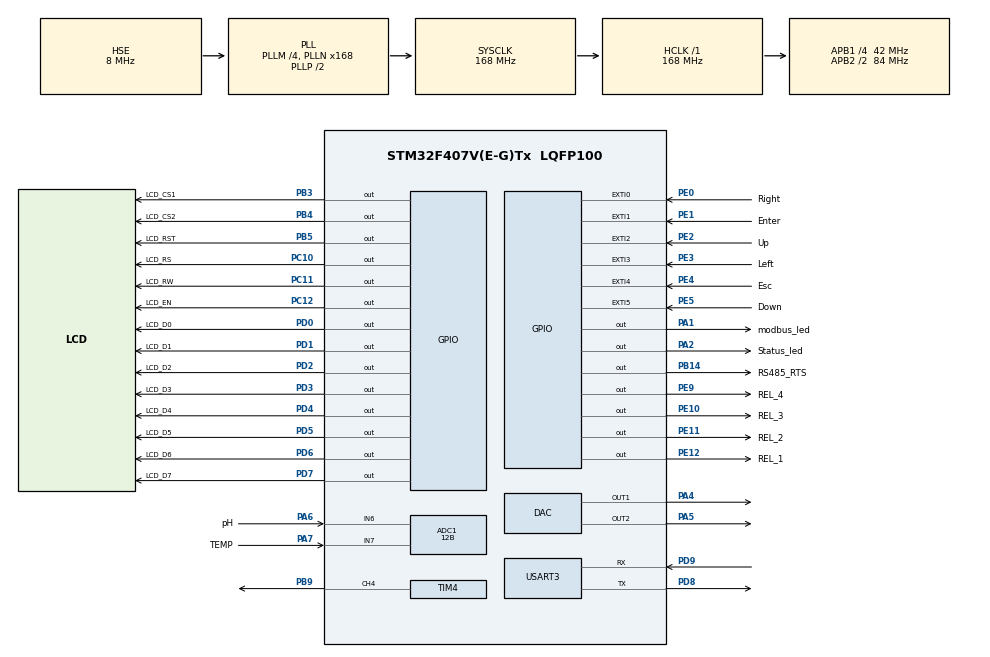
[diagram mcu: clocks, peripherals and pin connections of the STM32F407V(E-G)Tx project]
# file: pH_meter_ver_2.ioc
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ADC1.Channel-0\#ChannelRegularConversion=ADC_CHANNEL_6
ADC1.Channel-2\#ChannelRegularConversion=ADC_CHANNEL_7
ADC1.ClockPrescaler=ADC_CLOCK_SYNC_PCLK_DIV4
ADC1.ContinuousConvMode=ENABLE
ADC1.DMAContinuousRequests=DISABLE
ADC1.DataAlign=ADC_DATAALIGN_RIGHT
ADC1.DiscontinuousConvMode=DISABLE
ADC1.EOCSelection=ADC_EOC_SINGLE_CONV
ADC1.EnableAnalogWatchDog=false
ADC1.ExternalTrigConv=ADC_EXTERNALTRIGCONV_T2_TRGO
ADC1.ExternalTrigConvEdge=ADC_EXTERNALTRIGCONVEDGE_RISING
ADC1.InjNumberOfConversion=0
ADC1.NbrOfConversion=2
ADC1.NbrOfConversionFlag=1
ADC1.Rank-0\#ChannelRegularConversion=1
ADC1.Rank-2\#ChannelRegularConversion=2
ADC1.Resolution=ADC_RESOLUTION_12B
ADC1.SamplingTime-0\#ChannelRegularConversion=ADC_SAMPLETIME_144CYCLES
ADC1.SamplingTime-2\#ChannelRegularConversion=ADC_SAMPLETIME_144CYCLES
ADC1.ScanConvMode=ENABLE
ADC1.master=1
Dma.ADC1.0.Direction=DMA_PERIPH_TO_MEMORY
Dma.ADC1.0.FIFOMode=DMA_FIFOMODE_DISABLE
Dma.ADC1.0.Instance=DMA2_Stream0
Dma.ADC1.0.MemDataAlignment=DMA_MDATAALIGN_WORD
Dma.ADC1.0.MemInc=DMA_MINC_ENABLE
Dma.ADC1.0.Mode=DMA_CIRCULAR
Dma.ADC1.0.PeriphDataAlignment=DMA_PDATAALIGN_WORD
Dma.ADC1.0.PeriphInc=DMA_PINC_DISABLE
Dma.ADC1.0.Priority=DMA_PRIORITY_LOW
Dma.Request0=ADC1
FREERTOS.Tasks01=defaultTask,0,128,StartDefaultTask,Default,NULL
FREERTOS.configUSE_COUNTING_SEMAPHORES=1
Mcu.Family=STM32F4
Mcu.Name=STM32F407V(E-G)Tx
Mcu.Package=LQFP100
NVIC.DMA2_Stream0_IRQn=true\:5\:0\:false\:false\:true\:true\:false\:true
NVIC.EXTI0_IRQn=true\:5\:0\:false\:false\:true\:true\:true\:true
NVIC.EXTI1_IRQn=true\:5\:0\:false\:false\:true\:true\:true\:true
NVIC.EXTI2_IRQn=true\:5\:0\:false\:false\:true\:true\:true\:true
NVIC.EXTI3_IRQn=true\:5\:0\:false\:false\:true\:true\:true\:true
NVIC.EXTI4_IRQn=true\:5\:0\:false\:false\:true\:true\:true\:true
NVIC.EXTI9_5_IRQn=true\:5\:0\:false\:false\:true\:true\:true\:true
NVIC.PriorityGroup=NVIC_PRIORITYGROUP_4
NVIC.TIM1_UP_TIM10_IRQn=true\:0\:0\:false\:false\:true\:false\:false\:true
NVIC.TIM2_IRQn=true\:5\:0\:false\:false\:true\:true\:true\:true
NVIC.TIM5_IRQn=true\:5\:0\:false\:false\:true\:true\:true\:true
NVIC.TimeBase=TIM1_UP_TIM10_IRQn
NVIC.TimeBaseIP=TIM1
NVIC.USART3_IRQn=true\:5\:0\:false\:false\:true\:true\:true\:true
PA1.GPIO_Label=modbus_led
PA1.Signal=GPIO_Output
PA2.GPIO_Label=Status_led
PA2.Signal=GPIO_Output
PA4.Signal=COMP_DAC1_group
PA5.Signal=COMP_DAC2_group
PA6.GPIO_Label=pH
PA6.Signal=ADCx_IN6
PA7.GPIO_Label=TEMP
PA7.Signal=ADCx_IN7
PB14.GPIO_Label=RS485_RTS
PB14.Signal=GPIO_Output
PB3.GPIO_Label=LCD_CS1
PB3.Signal=GPIO_Output
PB4.GPIO_Label=LCD_CS2
PB4.Signal=GPIO_Output
PB5.GPIO_Label=LCD_RST
PB5.Signal=GPIO_Output
PB9.Signal=S_TIM4_CH4
PC10.GPIO_Label=LCD_RS
PC10.Signal=GPIO_Output
PC11.GPIO_Label=LCD_RW
PC11.Signal=GPIO_Output
PC12.GPIO_Label=LCD_EN
PC12.Signal=GPIO_Output
PC14-OSC32_IN.Mode=LSE-External-Oscillator
PC14-OSC32_IN.Signal=RCC_OSC32_IN
PC15-OSC32_OUT.Mode=LSE-External-Oscillator
PC15-OSC32_OUT.Signal=RCC_OSC32_OUT
PD0.GPIO_Label=LCD_D0
PD0.Signal=GPIO_Output
PD1.GPIO_Label=LCD_D1
PD1.Signal=GPIO_Output
PD2.GPIO_Label=LCD_D2
PD2.Signal=GPIO_Output
PD3.GPIO_Label=LCD_D3
PD3.Signal=GPIO_Output
PD4.GPIO_Label=LCD_D4
PD4.Signal=GPIO_Output
PD5.GPIO_Label=LCD_D5
PD5.Signal=GPIO_Output
PD6.GPIO_Label=LCD_D6
PD6.Signal=GPIO_Output
PD7.GPIO_Label=LCD_D7
PD7.Signal=GPIO_Output
PD8.Mode=Asynchronous
PD8.Signal=USART3_TX
PD9.Mode=Asynchronous
PD9.Signal=USART3_RX
PE0.GPIO_Label=Right
PE0.GPIO_ModeDefaultEXTI=GPIO_MODE_IT_FALLING
PE0.GPIO_PuPd=GPIO_PULLUP
PE0.Signal=GPXTI0
PE1.GPIO_Label=Enter
PE1.GPIO_ModeDefaultEXTI=GPIO_MODE_IT_FALLING
PE1.GPIO_PuPd=GPIO_PULLUP
PE1.Signal=GPXTI1
PE10.GPIO_Label=REL_3
PE10.Signal=GPIO_Output
PE11.GPIO_Label=REL_2
PE11.Signal=GPIO_Output
PE12.GPIO_Label=REL_1
PE12.Signal=GPIO_Output
PE2.GPIO_Label=Up
PE2.GPIO_ModeDefaultEXTI=GPIO_MODE_IT_FALLING
PE2.GPIO_PuPd=GPIO_PULLUP
PE2.Signal=GPXTI2
PE3.GPIO_Label=Left
PE3.GPIO_ModeDefaultEXTI=GPIO_MODE_IT_FALLING
PE3.GPIO_PuPd=GPIO_PULLUP
PE3.Signal=GPXTI3
PE4.GPIO_Label=Esc
PE4.GPIO_ModeDefaultEXTI=GPIO_MODE_IT_FALLING
PE4.GPIO_PuPd=GPIO_PULLUP
PE4.Signal=GPXTI4
PE5.GPIO_Label=Down
PE5.GPIO_ModeDefaultEXTI=GPIO_MODE_IT_FALLING
PE5.GPIO_PuPd=GPIO_PULLUP
PE5.Signal=GPXTI5
PE9.GPIO_Label=REL_4
PE9.Signal=GPIO_Output
PH0-OSC_IN.Mode=HSE-External-Oscillator
PH0-OSC_IN.Signal=RCC_OSC_IN
PH1-OSC_OUT.Mode=HSE-External-Oscillator
PH1-OSC_OUT.Signal=RCC_OSC_OUT
ProjectManager.HeapSize=0x200
ProjectManager.StackSize=0x400
ProjectManager.TargetToolchain=MDK-ARM V5
RCC.48MHZClocksFreq_Value=112000000
RCC.AHBFreq_Value=168000000
RCC.APB1CLKDivider=RCC_HCLK_DIV4
RCC.APB1Freq_Value=42000000
RCC.APB1TimFreq_Value=84000000
RCC.APB2CLKDivider=RCC_HCLK_DIV2
RCC.APB2Freq_Value=84000000
RCC.APB2TimFreq_Value=168000000
RCC.CortexFreq_Value=168000000
RCC.HCLKFreq_Value=168000000
RCC.HSE_VALUE=8000000
RCC.HSI_VALUE=16000000
RCC.PLLM=4
RCC.PLLN=168
RCC.PLLQ=3
RCC.PLLSourceVirtual=RCC_PLLSOURCE_HSE
RCC.RCC_RTC_Clock_Source=RCC_RTCCLKSOURCE_LSE
RCC.RCC_RTC_Clock_SourceVirtual=RCC_RTCCLKSOURCE_LSE
RCC.SYSCLKFreq_VALUE=168000000
RCC.SYSCLKSource=RCC_SYSCLKSOURCE_PLLCLK
RCC.VCOOutputFreq_Value=336000000
SH.ADCx_IN6.0=ADC1_IN6,IN6
SH.ADCx_IN7.0=ADC1_IN7,IN7
SH.COMP_DAC1_group.0=DAC_OUT1,DAC_OUT1
SH.COMP_DAC2_group.0=DAC_OUT2,DAC_OUT2
SH.S_TIM4_CH4.0=TIM4_CH4,PWM Generation4 CH4
TIM2.Period=41999
TIM2.Prescaler=9
TIM2.TIM_MasterOutputTrigger=TIM_TRGO_UPDATE
TIM4.Channel-PWM\ Generation4\ CH4=TIM_CHANNEL_4
TIM4.Period=100
TIM4.Prescaler=420
TIM4.Pulse-PWM\ Generation4\ CH4=0
TIM5.Channel-Output\ Compare1\ No\ Output=TIM_CHANNEL_1
TIM5.Period=6000000
TIM5.Prescaler=42000
TIM5.Pulse-Output\ Compare1\ No\ Output=30000
USART3.VirtualMode=VM_ASYNC
VP_FREERTOS_VS_CMSIS_V1.Mode=CMSIS_V1
VP_RTC_VS_RTC_Activate.Mode=RTC_Enabled
VP_RTC_VS_RTC_Calendar.Mode=RTC_Calendar
VP_SYS_VS_tim1.Mode=TIM1
VP_TIM2_VS_ClockSourceINT.Mode=Internal
VP_TIM4_VS_ClockSourceINT.Mode=Internal
VP_TIM5_VS_ClockSourceINT.Mode=Internal
VP_TIM5_VS_no_output1.Mode=Output Compare1 No Output
board=pH_meter_ver_2

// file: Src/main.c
/* USER CODE BEGIN Header */
/**
  ******************************************************************************
  * @file           : main.c
  * @brief          : Main program body
  ******************************************************************************
  * @attention
  *
  * <h2><center>&copy; Copyright (c) 2019 STMicroelectronics.
  * All rights reserved.</center></h2>
  *
  * This software component is licensed by ST under Ultimate Liberty license
  * SLA0044, the "License"; You may not use this file except in compliance with
  * the License. You may obtain a copy of the License at:
  *                             www.st.com/SLA0044
  *
  ******************************************************************************
  */
/* USER CODE END Header */

#include "main.h"
#include "cmsis_os.h"
#include "adc.h"
#include "dac.h"
#include "dma.h"
#include "rtc.h"
#include "tim.h"
#include "usart.h"
#include "gpio.h"

/* USER CODE BEGIN Includes */
#include "KS0108.h"
#include "glcd_menu.h"
#include "Dsp.h"
#include "PID.h"
#include "defines.h"
#include "max485.h"
#include "eeprom.h"
#include "stdlib.h"
#include "math.h"
#include "string.h"
#include "glcd_menu_functions.h"
#include <stdio.h>
/* USER CODE END Includes */

/* USER CODE BEGIN PV */
/* Private variables ---------------------------------------------------------*/

TaskHandle_t lcd_demo_handle = NULL;
TaskHandle_t main_thread_handle = NULL;
TaskHandle_t ph_calibration_thread_handle = NULL;
TaskHandle_t temp_calibration_thread_handle = NULL;
TaskHandle_t back_light_state_thread_handle = NULL;
TaskHandle_t input_button_thread_handle = NULL;
SemaphoreHandle_t lcd_semaphore;
int create_ph_calibration_task_flag = 0;
int delete_ph_calibration_task_flag = 0;
int create_temp_calibration_task_flag = 0;
int delete_temp_calibration_task_flag = 0;
Menu menu_list[menu_list_length];
Menu last_menu_list[menu_list_length];
uint8_t uart_buff[20];
int active_menu[MENU_DEPTH]={0};
int active_menu_sp = 0;
uint32_t adc_value[2*bufferLength]={0};
uint16_t pH_buffer[bufferLength];
uint16_t temp_buffer[bufferLength];
// moving variables
uint16_t ph_history[filterWindowLength]={0};
int32_t ph_sum=0;
uint16_t ph_window_pointer=0;
uint16_t temp_history[filterWindowLength]={0};
int32_t temp_sum=0;
uint16_t temp_window_pointer=0;
float p1_p =  0.00412 ;
float p2_p = -1.454 ;
float p1_t = -0.06613;
float p2_t = 128.17461 ;
float slope, zero, slope_percent = 0;
float pH = 0;
float temp = 0;
float ph_calibration_temp = 25 ;
float temp_compensation_coef = 0;
int32_t eeprom_buff;

uint8_t message[30];
uint8_t log_uart[10];
uint16_t ph_averaged = 0;
uint16_t pH_filtered ;
uint16_t temp_averaged = 0;
uint16_t temp_filtered = 0;
int16_t progress = 0;
int16_t last_progress = 0;
int16_t pump_on_off_state = 0;
// rtc
RTC_TimeTypeDef rtc_time;
RTC_DateTypeDef rtc_date;
float *rtc_hour_p = &menu_list[0].values[3];
float *rtc_minute_p = &menu_list[0].values[4];
// Structure to store PID data and pointer to PID structure
struct pid_controller ctrldata;
pid_t pid;
// Control loop input,output and setpoint variables
float input = 0;
float output ;
float output_mA;
float *setpoint = &menu_list[8].values[3];
// Control loop gains
float *kp = &menu_list[10].values[0];
float *ki = &menu_list[10].values[1];
float *kd = &menu_list[10].values[2];
int auto_wash_state = 0;
int back_light_state=0;
int back_button_flag=0;
int ok_button_flag=0;
int up_button_flag =0;
int down_button_flag =0;
int left_button_flag =0;
int right_button_flag =0;
int please_wait_flag =0;
int m_num=0;
// PID sample time in ms
uint32_t sample_time = 10;
const float NIST_4[19] = {4.003, 3.999, 3.998, 3.999, 4.002, 4.008, 4.015, 4.024, 4.030, 4.035, 4.047, 4.060, 4.075, 4.091, 4.126, 4.164, 4.205, 4.227};
const float NIST_7[19] = {6.984, 6.951, 6.923, 6.900, 6.881, 6.865, 6.853, 6.844, 6.840, 6.838, 6.834, 6.833, 6.834, 6.836, 6.845, 6.859, 6.877, 6.886};
const float NIST_9[19] = {9.464, 9.395, 9.332, 9.276, 9.225, 9.180, 9.139, 9.102, 9.081, 9.068, 9.038, 9.011, 8.985, 8.962, 8.921, 8.885, 8.850, 8.833};
const float NIST_TEMP[19] = {0, 5, 10, 15, 20, 25, 30, 35, 38, 40, 45, 50, 55, 60, 70, 80, 90, 95};
extern const unsigned char Times_New_Roman25x26[] ;

/* USER CODE END PV */

void SystemClock_Config(void);
void MX_FREERTOS_Init(void);
/* USER CODE BEGIN PFP */
/* Private function prototypes -----------------------------------------------*/
void main_thread(void *);
void lcd_print(void *);
void read_adc(void *);
void ph_calibration_thread(void *);
void temp_calibration_thread(void * pvParameters);
void pump_set_stroke(uint16_t stroke);
void read_setting_from_eeprom(void);
void light_thread(void* pvParameters);
void input_button_thread(void * pvParameters);
uint32_t get_timer_time(void);

/* USER CODE END PFP */

int main(void)
{

  /* MCU Configuration--------------------------------------------------------*/

  /* Reset of all peripherals, Initializes the Flash interface and the Systick. */
  HAL_Init();

  /* Configure the system clock */
  SystemClock_Config();

  /* Initialize all configured peripherals */
  MX_GPIO_Init();
  MX_DMA_Init();
  MX_ADC1_Init();
  MX_TIM2_Init();
  MX_DAC_Init();
  MX_RTC_Init();
  MX_USART3_UART_Init();
  MX_TIM5_Init();
  MX_TIM4_Init();
  /* USER CODE BEGIN 2 */

	lcd_semaphore = xSemaphoreCreateCounting(5,1);
	xTaskCreate(lcd_print,"lcd_print",128,( void * )1,3,&lcd_demo_handle);
	xTaskCreate(main_thread,"main_thread",512,( void * )1,2,&main_thread_handle);
	xTaskCreate(light_thread,"back_light",128,( void * )1,1,&back_light_state_thread_handle);
	xTaskCreate(input_button_thread,"input_button_thread",128,( void * )1,3,&input_button_thread_handle);
	//xTaskCreate(ph_calibration_thread,"calibration_thread",128,( void * )1,3,&ph_calibration_thread_handle);

  /* USER CODE END 2 */

  /* Call init function for freertos objects (in freertos.c) */
  MX_FREERTOS_Init();

  /* Start scheduler */
  osKernelStart();

  /* We should never get here as control is now taken by the scheduler */

  /* Infinite loop */
  while (1)
  {

  }
}

void SystemClock_Config(void)
{
  RCC_OscInitTypeDef RCC_OscInitStruct = {0};
  RCC_ClkInitTypeDef RCC_ClkInitStruct = {0};
  RCC_PeriphCLKInitTypeDef PeriphClkInitStruct = {0};

  /** Configure the main internal regulator output voltage
  */
  __HAL_RCC_PWR_CLK_ENABLE();
  __HAL_PWR_VOLTAGESCALING_CONFIG(PWR_REGULATOR_VOLTAGE_SCALE1);
  /** Initializes the CPU, AHB and APB busses clocks
  */
  RCC_OscInitStruct.OscillatorType = RCC_OSCILLATORTYPE_HSE|RCC_OSCILLATORTYPE_LSE;
  RCC_OscInitStruct.HSEState = RCC_HSE_ON;
  RCC_OscInitStruct.LSEState = RCC_LSE_ON;
  RCC_OscInitStruct.PLL.PLLState = RCC_PLL_ON;
  RCC_OscInitStruct.PLL.PLLSource = RCC_PLLSOURCE_HSE;
  RCC_OscInitStruct.PLL.PLLM = 4;
  RCC_OscInitStruct.PLL.PLLN = 168;
  RCC_OscInitStruct.PLL.PLLP = RCC_PLLP_DIV2;
  RCC_OscInitStruct.PLL.PLLQ = 3;
  if (HAL_RCC_OscConfig(&RCC_OscInitStruct) != HAL_OK)
  {
    Error_Handler();
  }
  /** Initializes the CPU, AHB and APB busses clocks
  */
  RCC_ClkInitStruct.ClockType = RCC_CLOCKTYPE_HCLK|RCC_CLOCKTYPE_SYSCLK
                              |RCC_CLOCKTYPE_PCLK1|RCC_CLOCKTYPE_PCLK2;
  RCC_ClkInitStruct.SYSCLKSource = RCC_SYSCLKSOURCE_PLLCLK;
  RCC_ClkInitStruct.AHBCLKDivider = RCC_SYSCLK_DIV1;
  RCC_ClkInitStruct.APB1CLKDivider = RCC_HCLK_DIV4;
  RCC_ClkInitStruct.APB2CLKDivider = RCC_HCLK_DIV2;

  if (HAL_RCC_ClockConfig(&RCC_ClkInitStruct, FLASH_LATENCY_5) != HAL_OK)
  {
    Error_Handler();
  }
  PeriphClkInitStruct.PeriphClockSelection = RCC_PERIPHCLK_RTC;
  PeriphClkInitStruct.RTCClockSelection = RCC_RTCCLKSOURCE_LSE;
  if (HAL_RCCEx_PeriphCLKConfig(&PeriphClkInitStruct) != HAL_OK)
  {
    Error_Handler();
  }
}

/* USER CODE BEGIN 4 */
void main_thread(void * pvParameters)
{
	HAL_TIM_PWM_Start(&htim4,TIM_CHANNEL_4);
	__HAL_TIM_SET_COMPARE(&htim4,TIM_CHANNEL_4,0);
	init_menu();

	#ifdef program_factory_config
		eeprom_buff = p1_p*float_to_int_factor;
		eeprom_write_data(p1_p_eeprom_add,&eeprom_buff,1);
		eeprom_buff = p2_p*float_to_int_factor;
		eeprom_write_data(p2_p_eeprom_add,&eeprom_buff,1);
		eeprom_buff = p1_t*float_to_int_factor;
		eeprom_write_data(p1_t_eeprom_add,&eeprom_buff,1);
		eeprom_buff = p2_t*float_to_int_factor;
		eeprom_write_data(p2_t_eeprom_add,&eeprom_buff,1);
		eeprom_buff = ph_calibration_temp*float_to_int_factor;
		eeprom_write_data(ph_calibration_temp_add,&eeprom_buff,1);
		eeprom_buff = PID_P*float_to_int_factor;
		eeprom_write_data(pid_p_eeprom_add,&eeprom_buff,1);
		eeprom_buff = PID_I*float_to_int_factor;
		eeprom_write_data(pid_i_eeprom_add,&eeprom_buff,1);
		eeprom_buff = PID_D*float_to_int_factor;
		eeprom_write_data(pid_d_eeprom_add,&eeprom_buff,1);
		eeprom_buff = CONTROLLER_THRESHOLD_MAX*float_to_int_factor;
		eeprom_write_data(relay_max_eeprom_add,&eeprom_buff,1);
		eeprom_buff = CONTROLLER_THRESHOLD_MIN*float_to_int_factor;
		eeprom_write_data(relay_min_eeprom_add,&eeprom_buff,1);
		eeprom_buff = CONTROLLER_ON_OFF;
		eeprom_write_data(controller_on_off_eeprom_add,&eeprom_buff,1);
		eeprom_buff = CONTROLLER_TYPE;
		eeprom_write_data(controller_type_eeprom_add,&eeprom_buff,1);
		eeprom_buff = CONTROLLER_SETPOINT*float_to_int_factor;
		eeprom_write_data(controller_setpoint_eeprom_add,&eeprom_buff,1);
		eeprom_buff = ATC;
		eeprom_write_data(ATC_eeprom_add,&eeprom_buff,1);
		eeprom_buff = relay1_func;
		eeprom_write_data(REL_FUNC_1_EEPROM_ADD,&eeprom_buff,1);
		eeprom_buff = relay2_func;
		eeprom_write_data(REL_FUNC_2_EEPROM_ADD,&eeprom_buff,1);
		eeprom_buff = relay3_func;
		eeprom_write_data(REL_FUNC_3_EEPROM_ADD,&eeprom_buff,1);
		eeprom_buff = relay4_func;
		eeprom_write_data(REL_FUNC_4_EEPROM_ADD,&eeprom_buff,1);
		eeprom_buff = STABILIZATION_TIME;
		eeprom_write_data(STABILIZATION_TIME_EEPROM_ADD,&eeprom_buff,1);
		eeprom_buff = STABILIZATION_RANGE*float_to_int_factor;
		eeprom_write_data(STABILIZATION_RANGE_EEPROM_ADD,&eeprom_buff,1);
	#endif

	read_setting_from_eeprom();
	// Prepare PID controller for operation
	pid = pid_create(&ctrldata, &input, &output, setpoint, *kp, *ki, *kd);
	// Set controler output limits from 0 to 100
	pid_limits(pid, 0, 100);
	// Allow PID to compute and change output
	pid_auto(pid);
	// Set sampling time
	pid_sample(pid, sample_time);
	// Set the direction of controller
	pid_direction(pid, E_PID_REVERSE);
	HAL_DAC_Start(&hdac,DAC_CHANNEL_1);
	HAL_DAC_Start(&hdac,DAC_CHANNEL_2);
	HAL_DAC_SetValue(&hdac, DAC_CHANNEL_1, DAC_ALIGN_12B_R, 0);
	HAL_DAC_SetValue(&hdac, DAC_CHANNEL_2, DAC_ALIGN_12B_R, 0);
	MAX485_send_string("starting ...",14,100);
	HAL_TIM_Base_Start_IT(&htim2);
	HAL_ADC_Start_DMA(&hadc1, adc_value, 2*bufferLength);
	GLCD_Initalize();
	GLCD_ClearScreen();
	glcd_set_font_with_num(1);
	glcd_draw_string_xy(20,20,"Atrovan",0,0,0);
	for(int i=0; i<100;i++)
	{
		__HAL_TIM_SET_COMPARE(&htim4,TIM_CHANNEL_4,i);
		osDelay(15);
	}
	//HAL_GPIO_WritePin(Power_led_GPIO_Port,Power_led_Pin,GPIO_PIN_SET);
	HAL_UART_Receive_IT(&huart3,uart_buff,1);

	while(1)
	{
		if( xSemaphoreTake( lcd_semaphore, 1000 ) == pdTRUE )
		{
			HAL_RTC_GetTime(&hrtc,&rtc_time,FORMAT_BIN);
			HAL_RTC_GetDate(&hrtc,&rtc_date,FORMAT_BIN);
			*rtc_minute_p = rtc_time.Minutes;
			*rtc_hour_p = rtc_time.Hours;
			update_menu_from_variables(active_menu[active_menu_sp]);
			if(please_wait_flag ==1)
			{
				please_wait_flag =0;
				GLCD_Clear_Ram();
				glcd_set_font_with_num(0);
				glcd_draw_string_xy_with_ram(35,28,"Please Wait",0,0,0);
				GLCD_Write_Ram();
			}
			else if(active_menu[active_menu_sp] == 0 )
			{
				print_main_page(active_menu[active_menu_sp]);
				HAL_GPIO_WritePin(Status_led_GPIO_Port,Status_led_Pin,GPIO_PIN_SET);
				back_light_state =0; // set backlight to 100%
			}
			else
			{
				print_menu(active_menu[active_menu_sp]);
			}
		}

		if(create_ph_calibration_task_flag == 1)
		{
			create_ph_calibration_task_flag = 0;
			progress = 0;
			last_progress = 0;
			xTaskCreate(ph_calibration_thread,"ph_calibration_thread",128,( void * )1,3,&ph_calibration_thread_handle);
		}
		if(delete_ph_calibration_task_flag == 1)
		{
			delete_ph_calibration_task_flag = 0;
			if( ph_calibration_thread_handle != NULL )
			{
				vTaskDelete( ph_calibration_thread_handle );
				back_light_state = 0;// 100% back light
				HAL_TIM_Base_Stop(&htim5);
				ph_calibration_thread_handle = NULL;
				progress = 0;
				last_progress = 0;
			}
		}
		if(create_temp_calibration_task_flag == 1)
		{
			create_temp_calibration_task_flag = 0;
			progress = 0;
			last_progress = 0;
			xTaskCreate(temp_calibration_thread,"temp_calibration_thread",128,( void * )1,3,&temp_calibration_thread_handle);
		}
		if(delete_temp_calibration_task_flag == 1)
		{
			delete_temp_calibration_task_flag = 0;
			if( temp_calibration_thread_handle != NULL)
			{
				vTaskDelete( temp_calibration_thread_handle );
				back_light_state = 0;// 100% back light
				HAL_TIM_Base_Stop(&htim5);
				temp_calibration_thread_handle = NULL;
				progress = 0;
				last_progress = 0;
			}
		}
		osDelay(5);
	}
}

void lcd_print(void * pvParameters)
{
	while(1)
	{
		osDelay(1000);
		update_menu_from_variables(active_menu[active_menu_sp]);
		if(active_menu[active_menu_sp] == 0 )
		{
			if(  menu_list[0].values[0] != last_menu_list[0].values[0] || menu_list[0].values[2] != last_menu_list[0].values[2]
				|| menu_list[0].values[3] != last_menu_list[0].values[3] || menu_list[0].values[4] != last_menu_list[0].values[4]
				|| menu_list[0].values[5] != last_menu_list[0].values[5] )
			{
				xSemaphoreGive( lcd_semaphore );
				last_menu_list[0] = menu_list[0];
			}
		}
		if( active_menu[active_menu_sp] == 3 || active_menu[active_menu_sp] == 5 || active_menu[active_menu_sp] == 13 || active_menu[active_menu_sp] == 15 )
		{
			if( progress >= 100 || menu_list[3].values[2] != last_menu_list[3].values[2] || menu_list[5].values[2] != last_menu_list[5].values[2])
			{
				xSemaphoreGive( lcd_semaphore );
				last_menu_list[3] = menu_list[3];
				last_menu_list[5] = menu_list[5];
			}

		}
	}
}

void input_button_thread(void * pvParameters)//other input buttons are handeled in glcd_menu get_user_input
{
	while(1)
	{
		m_num = active_menu[active_menu_sp]; //active menu number

		if( ok_button_flag == 1)
		{
			ok_button_flag = 0;
			if(m_num == 0)
			{
				active_menu_sp++;
				active_menu[active_menu_sp] = 1;
			}
			else
			{
				if(menu_list[m_num].menu_strings[menu_list[m_num].menu_pointer][1] == 'O' && menu_list[m_num].menu_strings[menu_list[m_num].menu_pointer][2] == 'K')
				{
//				please_wait_flag =1;
//				xSemaphoreGive( lcd_semaphore);
//        osDelay(300);
					menu_list[m_num].fun_ptr();
				}
				if(m_num != menu_list[m_num].next_menu_id[menu_list[m_num].menu_pointer]) // if we should go to another menu
				{
					active_menu_sp++;
					active_menu[active_menu_sp] = menu_list[m_num].next_menu_id[menu_list[m_num].menu_pointer];
				}
			}
			xSemaphoreGive( lcd_semaphore);
		}

		if(back_button_flag == 1 )
		{
			back_button_flag = 0;
			int cnt =0;
			while(HAL_GPIO_ReadPin(Esc_GPIO_Port,Esc_Pin) == 0 && cnt < 15)
			{
				cnt++;
				osDelay(50);
			}
			if(menu_list[m_num].run_on_exit == 1)
			{
//				please_wait_flag =1;
//				xSemaphoreGive( lcd_semaphore);
//				osDelay(300);
				menu_list[m_num].fun_ptr();
			}
			if(cnt < 15) //short press
			{
				if(active_menu_sp > 0)
				{
					active_menu_sp--;
				}
			}
			else//long press
			{
				active_menu_sp = 0;
			}
			xSemaphoreGive( lcd_semaphore);
		}

		if(right_button_flag == 1)
		{
			right_button_flag = 0;
			if(menu_list[m_num].values[menu_list[m_num].menu_pointer] < menu_list[m_num].value_max[menu_list[m_num].menu_pointer])
			{
				menu_list[m_num].values[menu_list[m_num].menu_pointer] += menu_list[m_num].value_resolution[menu_list[m_num].menu_pointer] ;
			}
			else if(menu_list[m_num].value_resolution[menu_list[m_num].menu_pointer] != 0)
			{
				menu_list[m_num].values[menu_list[m_num].menu_pointer] = menu_list[m_num].value_min[menu_list[m_num].menu_pointer];
			}
			xSemaphoreGive( lcd_semaphore);

			for(int i=0;HAL_GPIO_ReadPin(Right_GPIO_Port,Right_Pin) == 0 && i<100 ; i++)
			{
				osDelay(5);
			}
			osDelay(5);
			while(HAL_GPIO_ReadPin(Right_GPIO_Port,Right_Pin) == 0)
			{
				if(menu_list[m_num].values[menu_list[m_num].menu_pointer] < menu_list[m_num].value_max[menu_list[m_num].menu_pointer])
				{
					menu_list[m_num].values[menu_list[m_num].menu_pointer] += menu_list[m_num].value_resolution[menu_list[m_num].menu_pointer] ;
				}
				else if(menu_list[m_num].value_resolution[menu_list[m_num].menu_pointer] != 0)
				{
					menu_list[m_num].values[menu_list[m_num].menu_pointer] = menu_list[m_num].value_min[menu_list[m_num].menu_pointer];
				}
				xSemaphoreGive( lcd_semaphore);
				osDelay(50);
			}
		}

		if(left_button_flag ==1)
		{
			left_button_flag = 0;
			if(menu_list[m_num].values[menu_list[m_num].menu_pointer] > menu_list[m_num].value_min[menu_list[m_num].menu_pointer])
			{
				menu_list[m_num].values[menu_list[m_num].menu_pointer] -= menu_list[m_num].value_resolution[menu_list[m_num].menu_pointer] ;
			}
			else if(menu_list[m_num].value_resolution[menu_list[m_num].menu_pointer] != 0)
			{
				menu_list[m_num].values[menu_list[m_num].menu_pointer] = menu_list[m_num].value_max[menu_list[m_num].menu_pointer];
			}
			xSemaphoreGive( lcd_semaphore);

			for(int i=0;HAL_GPIO_ReadPin(Left_GPIO_Port,Left_Pin) == 0 && i<100 ; i++)
			{
				osDelay(5);
			}
			osDelay(5);
			while(HAL_GPIO_ReadPin(Left_GPIO_Port,Left_Pin) == 0)
			{
				if(menu_list[m_num].values[menu_list[m_num].menu_pointer] > menu_list[m_num].value_min[menu_list[m_num].menu_pointer])
				{
					menu_list[m_num].values[menu_list[m_num].menu_pointer] -= menu_list[m_num].value_resolution[menu_list[m_num].menu_pointer] ;
				}
				else if(menu_list[m_num].value_resolution[menu_list[m_num].menu_pointer] != 0)
				{
					menu_list[m_num].values[menu_list[m_num].menu_pointer] = menu_list[m_num].value_max[menu_list[m_num].menu_pointer];
				}
				xSemaphoreGive( lcd_semaphore);
				osDelay(50);
			}
		}

		if( up_button_flag == 1)
		{
			up_button_flag = 0 ;
			if(menu_list[m_num].menu_pointer > 0)
			{
			menu_list[m_num].menu_pointer--;
			}
			else
			{
				menu_list[m_num].menu_pointer = menu_list[m_num].menu_item_count-1;
			}
			xSemaphoreGive( lcd_semaphore);
		}

		if(down_button_flag ==1)
		{
			down_button_flag =0;
			if(menu_list[m_num].menu_pointer < menu_list[m_num].menu_item_count-1)
			{
			menu_list[m_num].menu_pointer++;
			}
			else
			{
				menu_list[m_num].menu_pointer = 0;
			}
			xSemaphoreGive( lcd_semaphore);
		}

		osDelay(100);
	}
}
void ph_calibration_thread(void * pvParameters)
{
	char sprintf_buff[20];
	uint16_t last_ph_filtered = pH_filtered ;
	HAL_TIM_Base_Start(&htim5);
	uint32_t start_time = get_timer_time();
	back_light_state = 1;
	while(1)
	{
		if(abs(pH_filtered - last_ph_filtered) * 0.00413  >= STABILIZATION_RANGE ) // 0.00413 convert mv to pH
		{
			xSemaphoreGive( lcd_semaphore );
			sprintf(sprintf_buff,"%.5f\n",abs(pH_filtered - last_ph_filtered) * 0.00413);
			MAX485_send_string(sprintf_buff,strlen(sprintf_buff),100);
			MAX485_send_string("reset\n",6,100);
			last_ph_filtered = pH_filtered;
			start_time = get_timer_time();

			back_light_state = 1;
		}
		progress = (100/STABILIZATION_TIME)*(get_timer_time() - start_time)/1000 ;
		if(progress > 100 )
		{
			progress = 100;
		}
		if(progress < 0 )
		{
			progress = 0;
		}
		MAX485_send_string("ph calibration\n",15,100);
		sprintf(sprintf_buff,"%d\n",progress);
		MAX485_send_string(sprintf_buff,strlen(sprintf_buff),100);
		osDelay(1000);
	}
}

void temp_calibration_thread(void * pvParameters)
{
	char sprintf_buff[10];
	uint16_t last_temp_filtered = temp_filtered;
	HAL_TIM_Base_Start(&htim5);
	uint32_t start_time = get_timer_time();
	back_light_state = 1;
	while(1)
	{
		if(abs(temp_filtered - last_temp_filtered) >= 6)
		{
			xSemaphoreGive( lcd_semaphore );
			last_temp_filtered = temp_filtered;
			start_time = get_timer_time();
			MAX485_send_string("reset\n",10,100);
			back_light_state = 1;
		}
		progress = (100/STABILIZATION_TIME)*(get_timer_time() - start_time)/1000  ;
		if(progress > 100 )
		{
			progress = 100;
		}
		if(progress < 0 )
		{
			progress = 0;
		}
		MAX485_send_string("temp calibration\n",20,100);
		sprintf(sprintf_buff,"%d\n",temp_filtered);
		MAX485_send_string(sprintf_buff,7,100);
		osDelay(1000);
	}
}
void light_thread(void* pvParameters)
{
	osDelay(3000);
	while(1)
	{

		if(back_light_state == 0)
		{
			__HAL_TIM_SET_COMPARE(&htim4,TIM_CHANNEL_4,100);
		}

		if(back_light_state == 1)
		{
			HAL_GPIO_TogglePin(Status_led_GPIO_Port,Status_led_Pin);
			for(int i=100; i>20;i--)
			{
				__HAL_TIM_SET_COMPARE(&htim4,TIM_CHANNEL_4,i);
				osDelay(10);
			}
			for(int i=20; i<100;i++)
			{
				__HAL_TIM_SET_COMPARE(&htim4,TIM_CHANNEL_4,i);
				osDelay(10);
			}
			osDelay(3000);

		}

		if(GLCD_ReadStatus(0) == 0x20 || GLCD_ReadStatus(1) == 0x20) // lcd is reseted
		{
			//GLCD_WriteCommand((DISPLAY_ON_CMD | ON), i); done in GLCD_WriteData(unsigned char dataToWrite)
			xSemaphoreGive( lcd_semaphore );
		}
		osDelay(100);
	}
}

/**
  * @brief  This function sets pump stroke.
	* @param  stroke: stroke value from 0 to 100.
  * @retval None
  */
void pump_set_stroke(uint16_t stroke)
{
	uint16_t dac_value = (4095 * ((4 + stroke * 0.16) * 0.1) / 3.3);
	HAL_DAC_SetValue(&hdac, DAC_CHANNEL_1, DAC_ALIGN_12B_R, dac_value);
}
void send_pH_4_20(float pH)
{

	uint16_t dac_value = (4095 * ((4.0f + pH * 16.0f / 14.0f) * 0.1f) / 3.3f);
	HAL_DAC_SetValue(&hdac, DAC_CHANNEL_2, DAC_ALIGN_12B_R, dac_value);
}

void read_setting_from_eeprom(void)
{
	char sprintf_buff[40];
	eeprom_read_data(p1_p_eeprom_add,&eeprom_buff,1);
	p1_p = eeprom_buff / float_to_int_factor;
	sprintf(sprintf_buff,"p1_p:%.5f \n",p1_p);
	MAX485_send_string(sprintf_buff,20,100);

	eeprom_read_data(p2_p_eeprom_add,&eeprom_buff,1);
	p2_p = eeprom_buff / float_to_int_factor;
	sprintf(sprintf_buff,"p2_p:%.5f \n",p2_p);
	MAX485_send_string(sprintf_buff,20,100);

	eeprom_read_data(ph_calibration_temp_add,&eeprom_buff,1);
	ph_calibration_temp = eeprom_buff / float_to_int_factor;
	sprintf(sprintf_buff,"cal_temp:%.5f \n",ph_calibration_temp);
	MAX485_send_string(sprintf_buff,20,100);

	eeprom_read_data(p1_t_eeprom_add,&eeprom_buff,1);
	p1_t = eeprom_buff / float_to_int_factor;
	sprintf(sprintf_buff,"p1_t:%.5f \n",p1_t);
	MAX485_send_string(sprintf_buff,20,100);

	eeprom_read_data(p2_t_eeprom_add,&eeprom_buff,1);
	p2_t = eeprom_buff / float_to_int_factor;
	sprintf(sprintf_buff,"p2_t:%.5f \n",p2_t);
	MAX485_send_string(sprintf_buff,20,100);

	eeprom_read_data(pid_p_eeprom_add,&eeprom_buff,1);
	PID_P = eeprom_buff / float_to_int_factor;
	eeprom_read_data(pid_i_eeprom_add,&eeprom_buff,1);
	PID_I = eeprom_buff / float_to_int_factor;
	eeprom_read_data(pid_d_eeprom_add,&eeprom_buff,1);
	PID_D = eeprom_buff / float_to_int_factor;
	eeprom_read_data(relay_max_eeprom_add,&eeprom_buff,1);
	CONTROLLER_THRESHOLD_MAX = eeprom_buff / float_to_int_factor;
	eeprom_read_data(relay_min_eeprom_add,&eeprom_buff,1);
	CONTROLLER_THRESHOLD_MIN = eeprom_buff / float_to_int_factor;
	eeprom_read_data(controller_on_off_eeprom_add,&eeprom_buff,1);
	CONTROLLER_ON_OFF = eeprom_buff ;
	eeprom_read_data(controller_type_eeprom_add,&eeprom_buff,1);
	CONTROLLER_TYPE = eeprom_buff ;
	eeprom_read_data(controller_setpoint_eeprom_add,&eeprom_buff,1);
	CONTROLLER_SETPOINT = eeprom_buff / float_to_int_factor;
	eeprom_read_data(ATC_eeprom_add,&eeprom_buff,1);
	ATC = eeprom_buff ;
	eeprom_read_data(REL_FUNC_1_EEPROM_ADD,&eeprom_buff,1);
	relay1_func = eeprom_buff ;
	eeprom_read_data(REL_FUNC_2_EEPROM_ADD,&eeprom_buff,1);
	relay2_func = eeprom_buff ;
	eeprom_read_data(REL_FUNC_3_EEPROM_ADD,&eeprom_buff,1);
	relay3_func = eeprom_buff ;
	eeprom_read_data(REL_FUNC_4_EEPROM_ADD,&eeprom_buff,1);
	relay4_func = eeprom_buff ;
	eeprom_read_data(STABILIZATION_TIME_EEPROM_ADD,&eeprom_buff,1);
	STABILIZATION_TIME = eeprom_buff ;
	eeprom_read_data(STABILIZATION_RANGE_EEPROM_ADD,&eeprom_buff,1);
	STABILIZATION_RANGE= eeprom_buff/float_to_int_factor ;
	slope = 1000 / (p1_p * 4095);
	zero = 1000 * (p2_p + 1.454f)/ (p1_p * 4095);
	slope_percent = 100 * slope / 59.16f;
	Change_Menu_Items(22,1,NULL,-1,slope_percent,-1);
	Change_Menu_Items(22,2,NULL,-1,zero,-1);
}
void set_date_time(void)
{
	rtc_time.Hours = HOUR;
	rtc_time.Minutes = MINUTE;
	rtc_time.Seconds=1;
	rtc_date.Date = DATE;
	rtc_date.Month = MONTH;
	rtc_date.Year = YEAR;
	HAL_RTC_SetTime(&hrtc,&rtc_time,FORMAT_BIN );
	HAL_RTC_SetDate(&hrtc,&rtc_date,FORMAT_BIN );
}
uint32_t get_timer_time()
{
	uint32_t counter ;
	counter = __HAL_TIM_GetCounter(&htim5);
	counter = counter/2;
	return counter;
}
void set_pid_coefficients(void)
{
	pid = pid_create(&ctrldata, &input, &output, setpoint, *kp, *ki, *kd);
	// Set controler output limits from 0 to 90
	pid_limits(pid, 0, 100);
	// Allow PID to compute and change output
	pid_auto(pid);
	// Set sampling time
	pid_sample(pid, sample_time);
	// Set the direction of controller
	pid_direction(pid, E_PID_REVERSE);
	eeprom_buff = *kp * float_to_int_factor;
	eeprom_write_data(pid_p_eeprom_add,&eeprom_buff,1);
	eeprom_buff = *ki * float_to_int_factor;
	eeprom_write_data(pid_i_eeprom_add,&eeprom_buff,1);
	eeprom_buff = *kd * float_to_int_factor;
	eeprom_write_data(pid_d_eeprom_add,&eeprom_buff,1);
	eeprom_buff = CONTROLLER_ON_OFF;
	eeprom_write_data(controller_on_off_eeprom_add,&eeprom_buff,1);
	eeprom_buff = CONTROLLER_TYPE;
	eeprom_write_data(controller_type_eeprom_add,&eeprom_buff,1);
	eeprom_buff = CONTROLLER_SETPOINT* float_to_int_factor;
	eeprom_write_data(controller_setpoint_eeprom_add,&eeprom_buff,1);
}

void HAL_ADC_ConvCpltCallback(ADC_HandleTypeDef* hadc)
{
	HAL_ADC_Stop_DMA(&hadc1);
	data_spliter(adc_value, bufferLength,pH_buffer,temp_buffer);

	temp_averaged = average(temp_buffer, bufferLength);
	temp_filtered = best_moving_average(temp_averaged, temp_history, &temp_sum, &temp_window_pointer);
	temp = p1_t * temp_filtered + p2_t;
	temp = roundf(temp * 10.0f) / 10.0f;

	ph_averaged = average(pH_buffer, bufferLength);
	pH_filtered = best_moving_average(ph_averaged, ph_history, &ph_sum, &ph_window_pointer);
	if(ATC == 1)
	{
		temp_compensation_coef = (ph_calibration_temp + 273.15f) / (temp + 273.15f);
		pH = (temp_compensation_coef * p1_p * pH_filtered + p2_p) + p1_p*(1-temp_compensation_coef)*2047;
	}
	else
	{
		pH = p1_p * pH_filtered + p2_p;
	}
	pH = roundf(pH * 100.0f) / 100.0f;
	if(pH > 14)
	{
		pH = 14;
	}
	if(pH < 0)
	{
		pH = 0;
	}
	send_pH_4_20(pH);

	if(CONTROLLER_ON_OFF == 0) // controller is ON
	{
		if(CONTROLLER_TYPE == 0) // controller type is pid
		{
			relay_on_off(pump_func_num,0);
			/* Updating PID input*/
			input = pH;
			/* Compute new PID output*/
			pid_compute(pid);
			output_mA = 4 + output*16/100;
			pump_set_stroke(output);
		}
		else if(CONTROLLER_TYPE == 1)// controller type is relay
		{
			uint16_t threshold = (CONTROLLER_THRESHOLD_MAX - CONTROLLER_THRESHOLD_MIN)/4;
			uint16_t mean = (CONTROLLER_THRESHOLD_MAX + CONTROLLER_THRESHOLD_MIN)/2;
			if (pH > mean + threshold ) // pH is bigger than maximum value
			{
				pump_on_off_state = 1;
				relay_on_off(pump_func_num,pump_on_off_state);
			}
			else if (pH < mean - threshold )
			{
				pump_on_off_state = 0;
				relay_on_off(pump_func_num,pump_on_off_state);
			}
		}
	}
	else
	{
		relay_on_off(pump_func_num,0);
		output=0;
		output_mA = 0;
	}
}
void HAL_UART_RxCpltCallback(UART_HandleTypeDef *huart)
{
	get_user_input(uart_buff,active_menu);
	//MAX485_send_string(uart_buff,1,100);
	HAL_UART_Receive_IT(&huart3,uart_buff,1);
	xSemaphoreGiveFromISR( lcd_semaphore, NULL );
}

void HAL_TIM_OC_DelayElapsedCallback(TIM_HandleTypeDef *htim)
{
	if (htim->Instance == TIM5)
	{
		auto_wash_handler(&auto_wash_state);
  }
}

void HAL_GPIO_EXTI_Callback(uint16_t GPIO_Pin)
{
	//HAL_GPIO_WritePin(Status_led_GPIO_Port ,Status_led_Pin , GPIO_PIN_RESET);
	for(int i=0; i<200000;i++)
	{
		for(int j=0; j<15;j++);
	}
	//HAL_GPIO_WritePin(Status_led_GPIO_Port ,Status_led_Pin , GPIO_PIN_SET);
	if(GPIO_Pin==Esc_Pin)
	{
		if(HAL_GPIO_ReadPin(Esc_GPIO_Port,Esc_Pin)==0)
		{
		//HAL_UART_Transmit(&huart2,"ESC\n",4,100);
			uart_buff[0]='e';
			get_user_input(uart_buff,active_menu);
		}
	}

	if(GPIO_Pin==Enter_Pin)
	{
		if(HAL_GPIO_ReadPin(Enter_GPIO_Port,Enter_Pin)==0)
		{
		//HAL_UART_Transmit(&huart2,"ESC\n",4,100);
			uart_buff[0]='\n';
			get_user_input(uart_buff,active_menu);
		}
	}
	if(GPIO_Pin==Up_Pin)
	{
		if(HAL_GPIO_ReadPin(Up_GPIO_Port,Up_Pin)==0)
		{
		//HAL_UART_Transmit(&huart2,"ESC\n",4,100);
			uart_buff[0]='w';
			get_user_input(uart_buff,active_menu);
		}
	}
	if(GPIO_Pin==Down_Pin)
	{
		if(HAL_GPIO_ReadPin(Down_GPIO_Port,Down_Pin)==0)
		{
		//HAL_UART_Transmit(&huart2,"ESC\n",4,100);
			uart_buff[0]='s';
			get_user_input(uart_buff,active_menu);
		}
	}
	if(GPIO_Pin==Right_Pin)
	{
		if(HAL_GPIO_ReadPin(Right_GPIO_Port,Right_Pin)==0)
		{
		//HAL_UART_Transmit(&huart2,"ESC\n",4,100);
			uart_buff[0]='d';
			get_user_input(uart_buff,active_menu);
		}
	}
	if(GPIO_Pin==Left_Pin)
	{
		if(HAL_GPIO_ReadPin(Left_GPIO_Port,Left_Pin)==0)
		{
		//HAL_UART_Transmit(&huart2,"ESC\n",4,100);
			uart_buff[0]='a';
			get_user_input(uart_buff,active_menu);
		}
	}

	//MAX485_send_string(uart_buff,13,100);

}
/* USER CODE END 4 */

void HAL_TIM_PeriodElapsedCallback(TIM_HandleTypeDef *htim)
{
  if (htim->Instance == TIM1) {
    HAL_IncTick();
  }
  /* USER CODE BEGIN Callback 1 */
	if (htim->Instance == TIM2) {
    HAL_ADC_Start_DMA(&hadc1, (uint32_t*)adc_value,2*bufferLength);
  }
  /* USER CODE END Callback 1 */
}

void Error_Handler(void)
{
  while(1)
  {
  }
}

/************************ (C) COPYRIGHT STMicroelectronics *****END OF FILE****/
